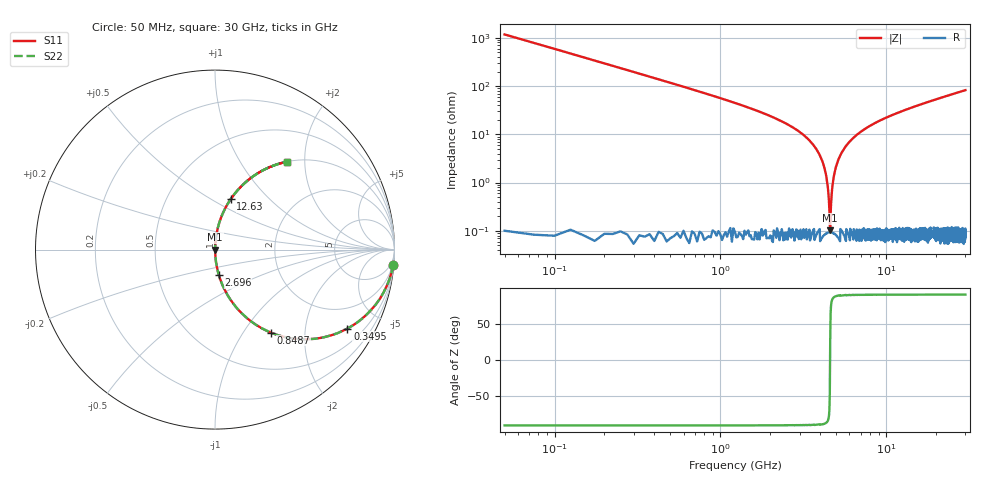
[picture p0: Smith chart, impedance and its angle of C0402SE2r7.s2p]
!	AVX Thin Film Operation 	Date: April 2014
!	Description: Accu-P® Series, Thin Film  SMD RF Capacitor
!	Part Number: 04025J2R7QBSTR
# MHZ S MA R 50
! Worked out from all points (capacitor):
!   1201 points, 50 MHz to 30 GHz, reference 50 ohm
!   read as one part in series: C = 2.7 pF near 199.8 MHz
!   lowest |Z| = 104 mohm at 4.592 GHz (marker M1)
!   series resonance near 4.584 GHz, so ESL is about 450 pH
!   S11 on the Smith chart (normalised r, x): 50 MHz: 1, -24; 349.5 MHz: 1.00, -3.35; 848.7 MHz: 1.00, -1.34; 2.696 GHz: 1.00, -0.29; 12.63 GHz: 1.00, +0.62; 30 GHz: 1.00, +1.64
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50  0.996 -4.8  0.085 85.1  0.085 85.1  0.996 -4.8
349.5  0.859 -30.8  0.512 59.2  0.512 59.2  0.859 -30.8
848.667  0.557 -56.1  0.83 33.8  0.83 33.8  0.557 -56.1
1522.542  0.325 -70.9  0.945 19.0  0.945 19.0  0.325 -70.9
2695.583  0.142 -81.5  0.989 8.1  0.989 8.1  0.142 -81.5
3469.292  0.072 -85.2  0.997 4.1  0.997 4.1  0.072 -85.2
3993.417  0.036 -86.6  0.999 2.0  0.999 2.0  0.036 -86.6
4267.958  0.018 -86.3  0.999 1.1  0.999 1.1  0.018 -86.3
4367.792  0.012 -85.3  0.999 0.7  0.999 0.7  0.012 -85.3
4467.625  0.006682 -82.2  0.999 0.4  0.999 0.4  0.006682 -82.2
4592.417  0.0009716 27.8  0.999 -0.0  0.999 -0.0  0.0009716 27.8
4692.25  0.006041 81.5  0.999 -0.3  0.999 -0.3  0.006041 81.5
4866.958  0.015 85.9  0.999 -0.9  0.999 -0.9  0.015 85.9
5041.667  0.024 86.6  0.999 -1.4  0.999 -1.4  0.024 86.6
5590.75  0.051 86.1  0.998 -2.9  0.998 -2.9  0.051 86.1
6514.208  0.092 84.2  0.995 -5.3  0.995 -5.3  0.092 84.2
10058.29  0.218 77.2  0.975 -12.6  0.975 -12.6  0.218 77.2
12629  0.294 72.8  0.955 -17.1  0.955 -17.1  0.294 72.8
15025  0.357 69.0  0.933 -20.9  0.933 -20.9  0.357 69.0
20016.67  0.469 61.9  0.882 -28.0  0.882 -28.0  0.469 61.9
25033.29  0.561 55.8  0.827 -34.1  0.827 -34.1  0.561 55.8
30000  0.635 50.6  0.772 -39.4  0.772 -39.4  0.635 50.6
